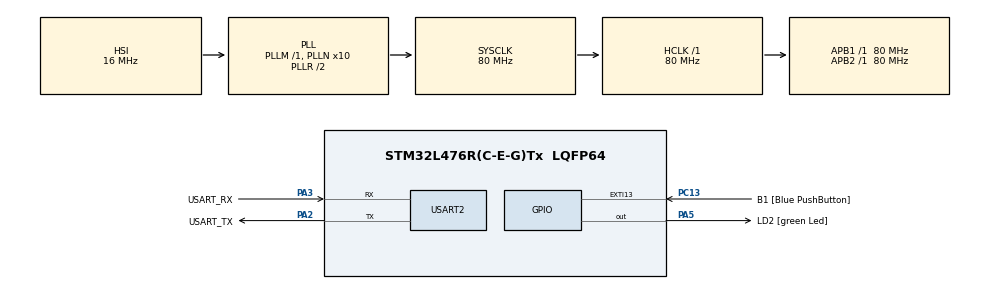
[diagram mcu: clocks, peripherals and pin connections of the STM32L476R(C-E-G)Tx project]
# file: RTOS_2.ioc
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FREERTOS.Tasks01=defaultTask,24,128,StartDefaultTask,Default,NULL,Dynamic,NULL,NULL
Mcu.Family=STM32L4
Mcu.Name=STM32L476R(C-E-G)Tx
Mcu.Package=LQFP64
NVIC.PriorityGroup=NVIC_PRIORITYGROUP_4
NVIC.TIM1_UP_TIM16_IRQn=true\:15\:0\:false\:false\:true\:false\:false\:true\:true
NVIC.TimeBase=TIM1_UP_TIM16_IRQn
NVIC.TimeBaseIP=TIM1
PA13\ (JTMS-SWDIO).GPIO_Label=TMS
PA13\ (JTMS-SWDIO).Mode=Serial_Wire
PA13\ (JTMS-SWDIO).Signal=SYS_JTMS-SWDIO
PA14\ (JTCK-SWCLK).GPIO_Label=TCK
PA14\ (JTCK-SWCLK).Mode=Serial_Wire
PA14\ (JTCK-SWCLK).Signal=SYS_JTCK-SWCLK
PA2.GPIO_Label=USART_TX
PA2.GPIO_Mode=GPIO_MODE_AF_PP
PA2.GPIO_PuPd=GPIO_NOPULL
PA2.GPIO_Speed=GPIO_SPEED_FREQ_VERY_HIGH
PA2.Mode=Asynchronous
PA2.Signal=USART2_TX
PA3.GPIO_Label=USART_RX
PA3.GPIO_Mode=GPIO_MODE_AF_PP
PA3.GPIO_PuPd=GPIO_NOPULL
PA3.GPIO_Speed=GPIO_SPEED_FREQ_VERY_HIGH
PA3.Mode=Asynchronous
PA3.Signal=USART2_RX
PA5.GPIO_Label=LD2 [green Led]
PA5.GPIO_ModeDefaultOutputPP=GPIO_MODE_OUTPUT_PP
PA5.GPIO_PuPd=GPIO_NOPULL
PA5.GPIO_Speed=GPIO_SPEED_FREQ_LOW
PA5.Signal=GPIO_Output
PB3\ (JTDO-TRACESWO).GPIO_Label=SWO
PB3\ (JTDO-TRACESWO).Signal=SYS_JTDO-SWO
PC13.GPIO_Label=B1 [Blue PushButton]
PC13.GPIO_ModeDefaultEXTI=GPIO_MODE_IT_FALLING
PC13.GPIO_PuPd=GPIO_NOPULL
PC13.Signal=GPXTI13
PC14-OSC32_IN\ (PC14).Mode=LSE-External-Oscillator
PC14-OSC32_IN\ (PC14).Signal=RCC_OSC32_IN
PC15-OSC32_OUT\ (PC15).Mode=LSE-External-Oscillator
PC15-OSC32_OUT\ (PC15).Signal=RCC_OSC32_OUT
PH0-OSC_IN\ (PH0).Signal=RCC_OSC_IN
PH1-OSC_OUT\ (PH1).Signal=RCC_OSC_OUT
ProjectManager.HeapSize=0x200
ProjectManager.StackSize=0x400
ProjectManager.TargetToolchain=STM32CubeIDE
RCC.ADCFreq_Value=64000000
RCC.AHBFreq_Value=80000000
RCC.APB1Freq_Value=80000000
RCC.APB1TimFreq_Value=80000000
RCC.APB2Freq_Value=80000000
RCC.APB2TimFreq_Value=80000000
RCC.CortexFreq_Value=80000000
RCC.HCLKFreq_Value=80000000
RCC.HSE_VALUE=8000000
RCC.HSI_VALUE=16000000
RCC.MSI_VALUE=4000000
RCC.PLLN=10
RCC.PLLSourceVirtual=RCC_PLLSOURCE_HSI
RCC.PREFETCH_ENABLE=1
RCC.SYSCLKFreq_VALUE=80000000
RCC.SYSCLKSource=RCC_SYSCLKSOURCE_PLLCLK
RCC.USBFreq_Value=64000000
RCC.VCOOutputFreq_Value=160000000
USART2.VirtualMode-Asynchronous=VM_ASYNC
VP_FREERTOS_VS_CMSIS_V2.Mode=CMSIS_V2
VP_SYS_VS_tim1.Mode=TIM1
board=NUCLEO-L476RG

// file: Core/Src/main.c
/* USER CODE BEGIN Header */
/**
 ******************************************************************************
 * @file           : main.c
 * @brief          : Main program body
 ******************************************************************************
 * @attention
 *
 * Copyright (c) 2025 STMicroelectronics.
 * All rights reserved.
 *
 * This software is licensed under terms that can be found in the LICENSE file
 * in the root directory of this software component.
 * If no LICENSE file comes with this software, it is provided AS-IS.
 *
 ******************************************************************************
 */
/* USER CODE END Header */
#include "main.h"
#include "cmsis_os.h"

/* USER CODE BEGIN Includes */
#include "stdio.h"
/* USER CODE END Includes */

UART_HandleTypeDef huart2;

/* Definitions for defaultTask */
osThreadId_t defaultTaskHandle;
const osThreadAttr_t defaultTask_attributes = {
		.name = "defaultTask",
		.stack_size = 128 * 4,
		.priority = (osPriority_t) osPriorityNormal,
};
/* USER CODE BEGIN PV */
osThreadId_t Task2Handle;
const osThreadAttr_t Task2_attributes = {
		.name = "Task2",
		.stack_size = 128 * 4,
		.priority = (osPriority_t) osPriorityAboveNormal,
};
/* USER CODE END PV */

void SystemClock_Config(void);
static void MX_GPIO_Init(void);
static void MX_USART2_UART_Init(void);
void StartDefaultTask(void *argument);
void StartTask2(void *argument);

/* USER CODE BEGIN PFP */
uint8_t idx = 0;

/* USER CODE END PFP */

/* USER CODE BEGIN 0 */
int _write(int file, char *ptr, int len)
{
	int i=0;
	for (i=0; i<len; i++)
		ITM_SendChar(*ptr++);
	return len;
}
/* USER CODE END 0 */

int main(void)
{

	/* MCU Configuration--------------------------------------------------------*/

	/* Reset of all peripherals, Initializes the Flash interface and the Systick. */
	HAL_Init();

	/* Configure the system clock */
	SystemClock_Config();

	/* Initialize all configured peripherals */
	MX_GPIO_Init();
	printf("staring...\n");
	MX_USART2_UART_Init();

	/* Init scheduler */
	osKernelInitialize();

	/* Create the thread(s) */
	/* creation of defaultTask */
	defaultTaskHandle = osThreadNew(StartDefaultTask, NULL, &defaultTask_attributes);
	Task2Handle = osThreadNew(StartTask2, NULL, &Task2_attributes);

	/* Start scheduler */
	osKernelStart();

	/* We should never get here as control is now taken by the scheduler */

	/* Infinite loop */
	while (1)
	{

	}
}

void SystemClock_Config(void)
{
	RCC_OscInitTypeDef RCC_OscInitStruct = {0};
	RCC_ClkInitTypeDef RCC_ClkInitStruct = {0};

	/** Configure the main internal regulator output voltage
	 */
	if (HAL_PWREx_ControlVoltageScaling(PWR_REGULATOR_VOLTAGE_SCALE1) != HAL_OK)
	{
		Error_Handler();
	}

	/** Initializes the RCC Oscillators according to the specified parameters
	 * in the RCC_OscInitTypeDef structure.
	 */
	RCC_OscInitStruct.OscillatorType = RCC_OSCILLATORTYPE_HSI;
	RCC_OscInitStruct.HSIState = RCC_HSI_ON;
	RCC_OscInitStruct.HSICalibrationValue = RCC_HSICALIBRATION_DEFAULT;
	RCC_OscInitStruct.PLL.PLLState = RCC_PLL_ON;
	RCC_OscInitStruct.PLL.PLLSource = RCC_PLLSOURCE_HSI;
	RCC_OscInitStruct.PLL.PLLM = 1;
	RCC_OscInitStruct.PLL.PLLN = 10;
	RCC_OscInitStruct.PLL.PLLP = RCC_PLLP_DIV7;
	RCC_OscInitStruct.PLL.PLLQ = RCC_PLLQ_DIV2;
	RCC_OscInitStruct.PLL.PLLR = RCC_PLLR_DIV2;
	if (HAL_RCC_OscConfig(&RCC_OscInitStruct) != HAL_OK)
	{
		Error_Handler();
	}

	/** Initializes the CPU, AHB and APB buses clocks
	 */
	RCC_ClkInitStruct.ClockType = RCC_CLOCKTYPE_HCLK|RCC_CLOCKTYPE_SYSCLK
			|RCC_CLOCKTYPE_PCLK1|RCC_CLOCKTYPE_PCLK2;
	RCC_ClkInitStruct.SYSCLKSource = RCC_SYSCLKSOURCE_PLLCLK;
	RCC_ClkInitStruct.AHBCLKDivider = RCC_SYSCLK_DIV1;
	RCC_ClkInitStruct.APB1CLKDivider = RCC_HCLK_DIV1;
	RCC_ClkInitStruct.APB2CLKDivider = RCC_HCLK_DIV1;

	if (HAL_RCC_ClockConfig(&RCC_ClkInitStruct, FLASH_LATENCY_4) != HAL_OK)
	{
		Error_Handler();
	}
}

static void MX_USART2_UART_Init(void)
{

	huart2.Instance = USART2;
	huart2.Init.BaudRate = 115200;
	huart2.Init.WordLength = UART_WORDLENGTH_8B;
	huart2.Init.StopBits = UART_STOPBITS_1;
	huart2.Init.Parity = UART_PARITY_NONE;
	huart2.Init.Mode = UART_MODE_TX_RX;
	huart2.Init.HwFlowCtl = UART_HWCONTROL_NONE;
	huart2.Init.OverSampling = UART_OVERSAMPLING_16;
	huart2.Init.OneBitSampling = UART_ONE_BIT_SAMPLE_DISABLE;
	huart2.AdvancedInit.AdvFeatureInit = UART_ADVFEATURE_NO_INIT;
	if (HAL_UART_Init(&huart2) != HAL_OK)
	{
		Error_Handler();
	}

}

static void MX_GPIO_Init(void)
{
	GPIO_InitTypeDef GPIO_InitStruct = {0};

	/* GPIO Ports Clock Enable */
	__HAL_RCC_GPIOC_CLK_ENABLE();
	__HAL_RCC_GPIOH_CLK_ENABLE();
	__HAL_RCC_GPIOA_CLK_ENABLE();
	__HAL_RCC_GPIOB_CLK_ENABLE();

	/*Configure GPIO pin Output Level */
	HAL_GPIO_WritePin(LD2_GPIO_Port, LD2_Pin, GPIO_PIN_RESET);

	/*Configure GPIO pin : B1_Pin */
	GPIO_InitStruct.Pin = B1_Pin;
	GPIO_InitStruct.Mode = GPIO_MODE_IT_FALLING;
	GPIO_InitStruct.Pull = GPIO_NOPULL;
	HAL_GPIO_Init(B1_GPIO_Port, &GPIO_InitStruct);

	/*Configure GPIO pin : LD2_Pin */
	GPIO_InitStruct.Pin = LD2_Pin;
	GPIO_InitStruct.Mode = GPIO_MODE_OUTPUT_PP;
	GPIO_InitStruct.Pull = GPIO_NOPULL;
	GPIO_InitStruct.Speed = GPIO_SPEED_FREQ_LOW;
	HAL_GPIO_Init(LD2_GPIO_Port, &GPIO_InitStruct);

}

void StartDefaultTask(void *argument)
{
	/* USER CODE BEGIN 5 */
	/* Infinite loop */
	for(;;)
	{
		//uint8_t data[] = "Hello from task 2\n\r";
		//HAL_UART_Transmit(&huart2, data, sizeof(data), 500);
		printf("Default task\n");
		osDelay(1000);
	}
	/* USER CODE END 5 */
}

void StartTask2(void *argument)
{
	/* USER CODE BEGIN 5 */
	/* Infinite loop */
	for(;;)
	{
		//uint8_t data[] = "Hello from task 2\n\r";
		//HAL_UART_Transmit(&huart2, data, sizeof(data), 500);
		printf("task2, idx =%d\n",idx++);
		osDelay(2000);
	}
	/* USER CODE END 5 */
}

void HAL_TIM_PeriodElapsedCallback(TIM_HandleTypeDef *htim)
{
	if (htim->Instance == TIM1)
	{
		HAL_IncTick();
	}
}

void Error_Handler(void)
{
	__disable_irq();
	while (1)
	{
	}
}
